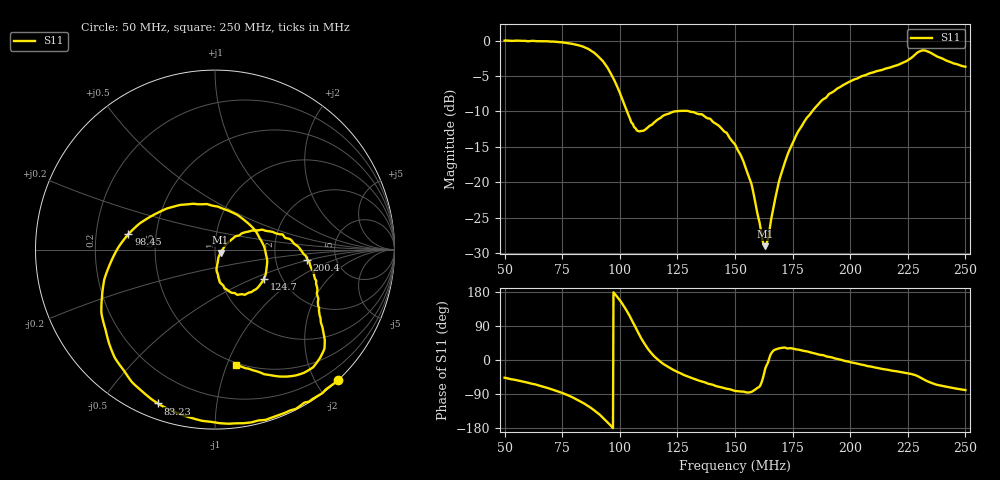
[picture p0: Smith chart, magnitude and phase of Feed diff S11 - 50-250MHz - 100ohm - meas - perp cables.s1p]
# MHZ S MA R 100
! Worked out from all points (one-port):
!   1000 points, 50 MHz to 250 MHz, reference 100 ohm
!   lowest |S11| = -29.0 dB at 162.9 MHz (marker M1), VSWR 1.07, Z = 106 - j3.57 ohm
!   |S11| at or under -10 dB: 103.2 MHz to 124.1 MHz (20.93 MHz wide, 18.4 % of centre); 130.1 MHz to 183.5 MHz (53.38 MHz wide, 34 % of centre)
!   S11 on the Smith chart (normalised r, x): 50 MHz: 0.01, -2.31; 83.23 MHz: 0.07, -0.69; 98.45 MHz: 0.34, +0.08; 124.7 MHz: 1.62, -0.58; 200.4 MHz: 3.06, -0.47; 250 MHz: 0.48, -1.08
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50  0.998 -46.8
63.21321  0.9912 -64.3
75.02502  0.9701 -87.1
83.23323  0.9144 -110.4
87.43744  0.8478 -126.2
92.24224  0.7289 -149.9
98.44845  0.4903 169.9
100.05  0.4253 157.4
106.8569  0.2402 86.2
111.6617  0.2393 34.0
117.4675  0.2824 -3.9
124.6747  0.317 -30.6
125.0751  0.3174 -31.7
139.0891  0.281 -63.7
150.1001  0.1835 -81.7
156.7067  0.1017 -84.9
162.9129  0.03535 -28.3
164.3143  0.03966 -6.9
169.5195  0.1072 31.2
175.1251  0.1895 30.3
187.1371  0.3704 13.3
200.1501  0.5156 -5.9
200.3503  0.5174 -6.3
225.1752  0.7284 -35.2
229.5796  0.8292 -43.4
233.984  0.8328 -57.4
238.5886  0.7603 -66.7
250  0.6524 -79.4
